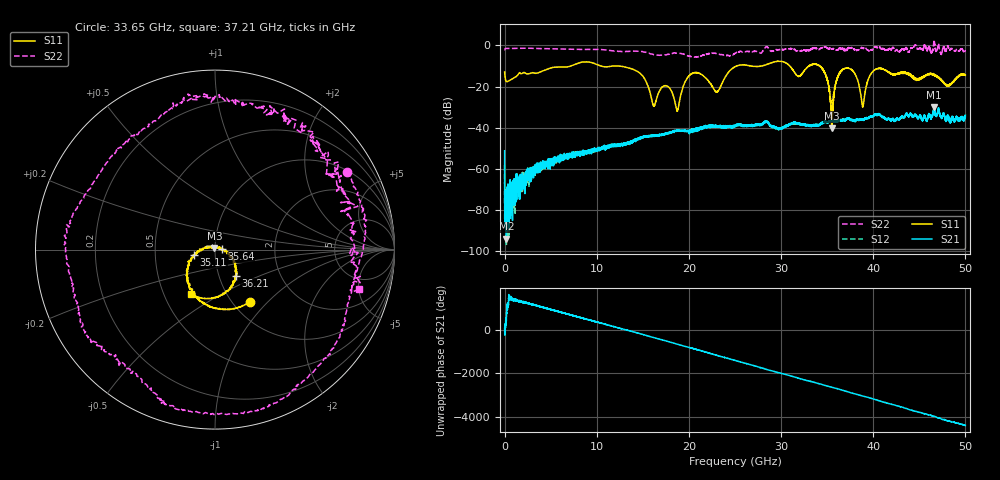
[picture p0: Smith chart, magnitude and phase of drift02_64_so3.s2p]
!Created with skrf (http://scikit-rf.org).
# Hz S RI R 50.0
!freq ReS11 ImS11 ReS21 ImS21 ReS12 ImS12 ReS22 ImS22
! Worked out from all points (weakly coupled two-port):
!   10001 points, 300 kHz to 50 GHz, reference 50 ohm
!   highest |S21| = -29.91 dB at 46.61 GHz (marker M1); lowest = -93.8 dB at 200.3 MHz (marker M2)
!   lowest |S11| = -40.2 dB at 35.49 GHz (marker M3), VSWR 1.02, Z = 49.6 + j0.896 ohm
!   |S11| at or under -10 dB: start of sweep to 7.179 GHz; 12.36 GHz to 25.18 GHz (12.82 GHz wide, 68.3 % of centre); 34.21 GHz to end of sweep (the widest 3 of 15)
!   |S22| runs from -5.7 to 2.4 dB; largest |S21 - S12| = 0.0041
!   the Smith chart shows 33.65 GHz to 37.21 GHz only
!   S11 on the Smith chart (normalised r, x): 33.65 GHz: 1.20, -0.79; 35.11 GHz: 0.79, -0.05; 35.64 GHz: 1.08, +0.01; 36.21 GHz: 1.20, -0.36; 37.21 GHz: 0.68, -0.37
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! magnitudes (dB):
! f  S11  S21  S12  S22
! 300 kHz  -12.9  -51.2  -58.2  -2.1
! 200.3 MHz  -17.6  -93.8  -69.3  -1.4
! 8.335 GHz  -8.2  -52.2  -51.6  -1.9
! 14.03 GHz  -11.8  -46.1  -46.3  -2.8
! 16.15 GHz  -29.4  -43.6  -44.0  -4.5
! 16.67 GHz  -23.4  -43.5  -43.9  -4.7
! 18.74 GHz  -31.9  -41.6  -41.4  -3.7
! 20.23 GHz  -13.9  -41.4  -41.6  -5.4
! 23.04 GHz  -22.6  -39.3  -39.4  -4.1
! 25 GHz  -10.3  -38.9  -39.2  -3.9
! 33.34 GHz  -9.4  -39.1  -38.9  -1.6
! 33.65 GHz  -9.1  -38.8  -38.9  -1.4
! 35.11 GHz  -18.3  -37.4  -37.2  -1.7
! 35.49 GHz  -40.2  -36.6  -36.6  -1.7
! 35.64 GHz  -28.5  -36.9  -36.8  -1.6
! 36.21 GHz  -14.7  -36.8  -36.5  -2.0
! 37.21 GHz  -11.0  -35.4  -35.6  -1.6
! 38.86 GHz  -29.9  -36.0  -36.1  -1.3
! 39.96 GHz  -12.7  -34.4  -34.4  -1.9
! 41.67 GHz  -13.0  -35.6  -35.7  -1.9
! 46.61 GHz  -14.2  -29.9  -30.2  2.4
! 50 GHz  -14.5  -33.9  -34.5  -2.8
